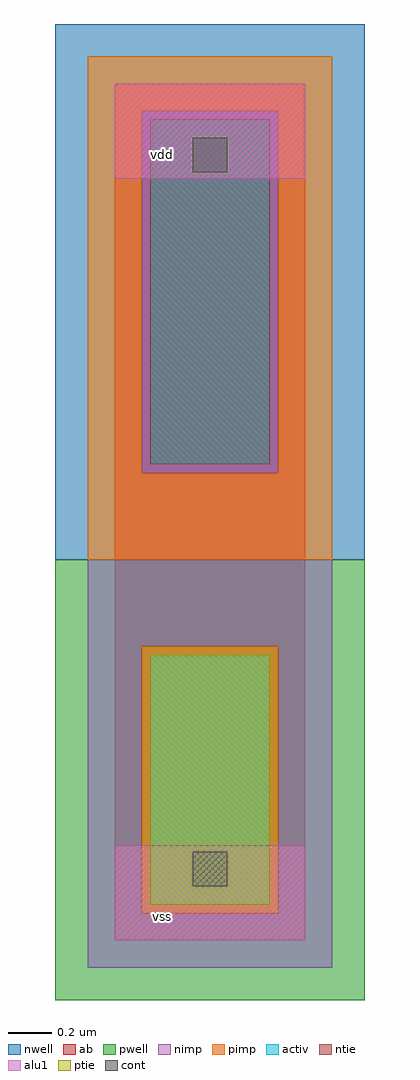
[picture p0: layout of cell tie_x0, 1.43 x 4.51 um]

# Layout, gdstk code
import gdstk
lib = gdstk.Library(unit=1e-6, precision=2.5e-09)
def R(c, l, rs):  # rectangles x0, y0, x1, y1
    for r in rs: c.add(gdstk.rectangle(r[:2], r[2:], *l))
ntie = (5, 0)
ptie = (6, 0)
cont = (25, 0)
pwell = (41, 0)
nwell = (42, 0)
activ = (43, 0)
pimp = (44, 0)
nimp = (45, 0)
alu1 = (49, 0)
ab = (63, 0)

tie_x0 = lib.new_cell('tie_x0')
R(tie_x0, ntie, [(0.165,2.2,0.715,3.795)])
R(tie_x0, ptie, [(0.165,0.165,0.715,1.32)])
R(tie_x0, cont, [(0.36,0.25,0.52,0.41), (0.36,3.55,0.52,3.71)])
R(tie_x0, pwell, [(-0.275,-0.275,1.155,1.76)])
R(tie_x0, nwell, [(-0.275,1.76,1.155,4.235)])
R(tie_x0, activ, [(0.165,0.165,0.715,1.32), (0.165,2.2,0.715,3.795)])
R(tie_x0, pimp, [(0.125,0.125,0.755,1.36), (-0.125,1.76,1.005,2.16), (-0.125,2.16,0.125,3.835), (0.755,2.16,1.005,3.835), (-0.125,3.835,1.005,4.085)])
R(tie_x0, nimp, [(-0.125,-0.125,1.005,0.125), (-0.125,0.125,0.125,1.36), (0.755,0.125,1.005,1.36), (-0.125,1.36,1.005,1.76), (0.125,2.16,0.755,3.835)])
R(tie_x0, alu1, [(0,0,0.88,0.44), (0,3.52,0.88,3.96)])
R(tie_x0, ab, [(0,0,0.88,3.96)])
tie_x0.add(gdstk.Label('vss', (0.22,0.11), layer=49, texttype=0))
tie_x0.add(gdstk.Label('vdd', (0.22,3.63), layer=49, texttype=0))

lib.write_gds('tie_x0.gds')
